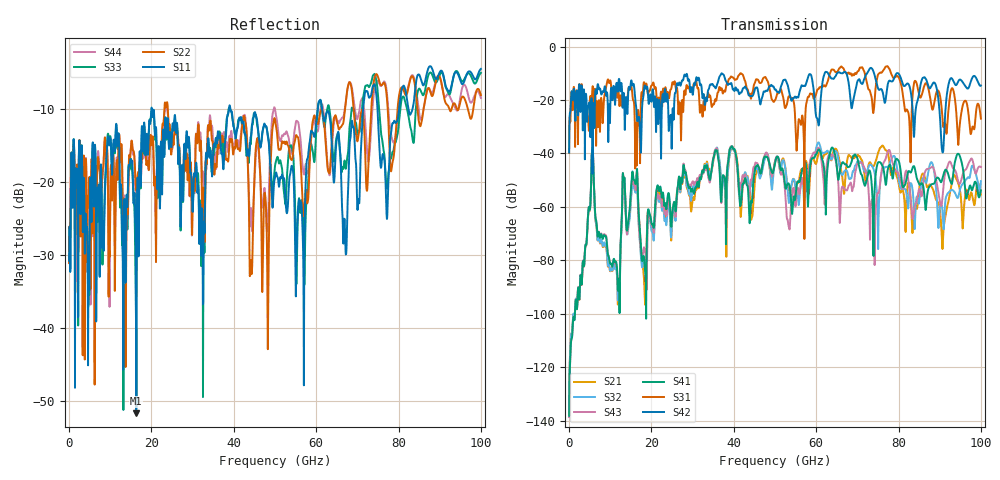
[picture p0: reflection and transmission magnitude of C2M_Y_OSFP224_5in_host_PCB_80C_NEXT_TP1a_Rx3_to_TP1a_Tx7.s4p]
# GHz S RI R 45
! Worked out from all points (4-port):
!   4000 points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, 25 MHz to 100 GHz, reference 45 ohm
!   strongest paths, dB at 25 MHz, 25.02 GHz, 50.02 GHz, 75.03 GHz, 100 GHz:
!     S42: -39.6, -28.1, -16.1, -15.6, -14.6
!     S31: -39.8, -13.8, -20.0, -10.5, -26.9
!     S41: -138.2, -63.3, -43.7, -43.4, -53.8
!     S43: -138.7, -62.8, -43.0, -54.8, -45.1
!     S32: -134.4, -64.5, -43.1, -71.9, -50.3
!     S21: -134.2, -65.5, -42.9, -39.9, -55.4
!   lowest |S11| = -51.7 dB at 16.32 GHz (marker M1), VSWR 1.01, Z = 44.9 + j0.201 ohm
!   |S11| at or under -10 dB: start of sweep to 19.98 GHz; 20.13 GHz to 38.82 GHz (18.7 GHz wide, 63.4 % of centre); 39.17 GHz to 60.37 GHz (21.2 GHz wide, 42.6 % of centre) (the widest 3 of 6)
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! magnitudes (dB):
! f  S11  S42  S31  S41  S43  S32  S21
! 25 MHz  -30.8  -39.6  -39.8  -138.2  -138.7  -134.4  -134.2
! 16.32 GHz  -51.7  -23.0  -29.5  -49.6  -52.2  -52.9  -50.4
! 18.2 GHz  -12.0  -16.4  -13.3  -78.9  -75.2  -79.1  -86.8
! 39.48 GHz  -10.3  -14.0  -11.2  -37.3  -37.3  -38.1  -38.0
! 53.27 GHz  -21.7  -15.6  -18.8  -51.2  -66.9  -57.4  -55.0
! 60.4 GHz  -9.8  -27.7  -16.0  -39.0  -37.9  -36.1  -41.0
! 100 GHz  -4.5  -14.6  -26.9  -53.8  -45.1  -50.3  -55.4
